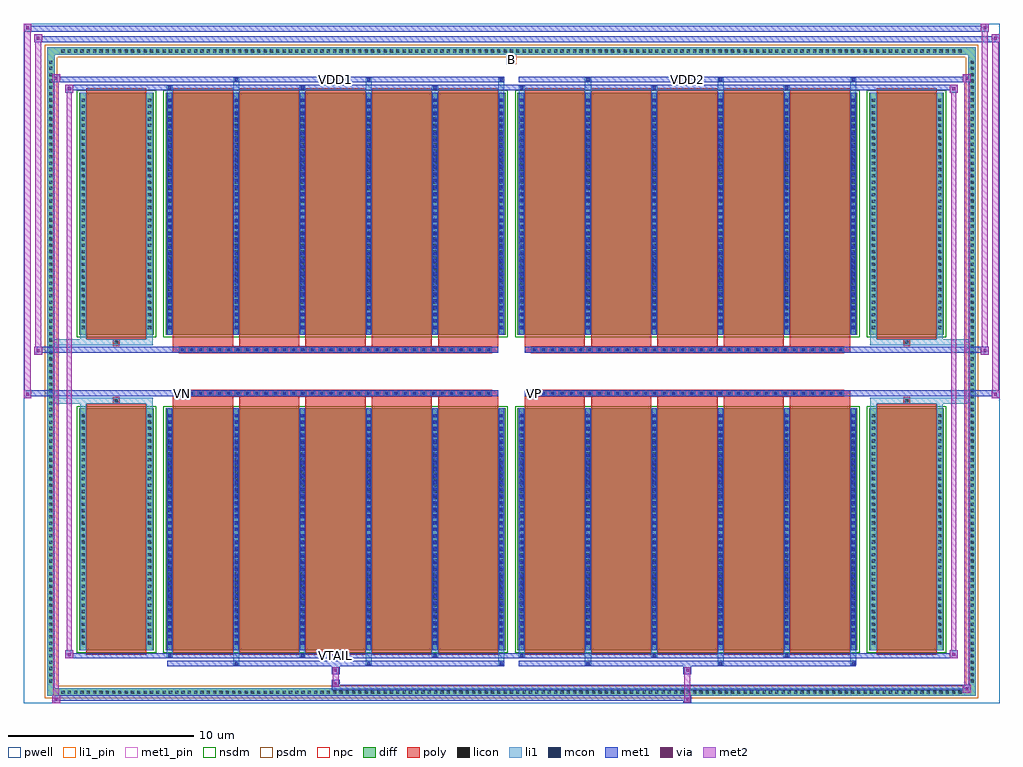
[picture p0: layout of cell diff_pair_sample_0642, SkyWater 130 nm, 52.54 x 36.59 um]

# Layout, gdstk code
import gdstk
lib = gdstk.Library(unit=1e-6, precision=5e-09)
def R(c, l, rs):  # rectangles x0, y0, x1, y1
    for r in rs: c.add(gdstk.rectangle(r[:2], r[2:], *l))
def A(c, l, x, y, w, h, nx, ny, dx, dy):  # array of equal rectangles
    R(c, l, [(x+i*dx, y+j*dy, x+i*dx+w, y+j*dy+h) for i in range(nx) for j in range(ny)])
def P(c, l, *ps):  # polygons
    for p in ps: c.add(gdstk.Polygon(p, *l))
pwell = (64, 44)
diff = (65, 20)
poly = (66, 20)
licon = (66, 44)
li1_pin = (67, 16)
li1 = (67, 20)
mcon = (67, 44)
met1_pin = (68, 16)
met1 = (68, 20)
via = (68, 44)
met2 = (69, 20)
nsdm = (93, 44)
psdm = (94, 20)
npc = (95, 20)

diff_pair_sample_0642 = lib.new_cell('diff_pair_sample_0642')
R(diff_pair_sample_0642, pwell, [(-26.27,-17.86,26.27,18.73), (-23.59,-16.05,-0.01,-0.805), (0.01,-16.05,23.59,-0.805), (-23.59,0.805,-0.01,16.05), (0.01,0.805,23.59,16.05)])
A(diff_pair_sample_0642, diff, -24.345, -17.46, 0.41, 0.41, 143, 2, 0.34, 34.51)
A(diff_pair_sample_0642, diff, -25, -16.865, 0.41, 0.41, 1, 99, 0, 0.34)
A(diff_pair_sample_0642, diff, 24.59, -16.865, 0.41, 0.41, 1, 99, 0, 0.34)
R(diff_pair_sample_0642, diff, [(-24.345,-17.46,24.345,-17.05), (-25,-16.865,-24.59,16.865), (24.59,-16.865,25,16.865), (-23.28,-15.005,-19.26,-1.985), (-18.62,-15.005,-0.32,-1.985), (0.32,-15.005,18.62,-1.985), (19.26,-15.005,23.28,-1.985), (-23.28,1.985,-19.26,15.005), (-18.62,1.985,-0.32,15.005), (0.32,1.985,18.62,15.005), (19.26,1.985,23.28,15.005), (-24.345,17.05,24.345,17.46)])
P(diff_pair_sample_0642, diff, [(25,17.46),(-25,17.46),(-25,-17.05),(-24.59,-17.05),(-24.59,17.05),(24.59,17.05),(24.59,-17.05),(-24.59,-17.05),(-25,-17.05),(-25,-17.46),(25,-17.46)])
A(diff_pair_sample_0642, poly, -18.23, -15.255, 3.24, 13.52, 5, 2, 3.57, 16.99)
A(diff_pair_sample_0642, poly, 0.71, -15.255, 3.24, 13.52, 5, 2, 3.57, 16.99)
A(diff_pair_sample_0642, poly, -18.23, -1.735, 3.24, 0.4, 5, 2, 3.57, 3.07)
A(diff_pair_sample_0642, poly, 0.71, -1.735, 3.24, 0.4, 5, 2, 3.57, 3.07)
A(diff_pair_sample_0642, poly, -17.885, -1.335, 0.33, 0.33, 34, 2, 0.5, 2.34)
A(diff_pair_sample_0642, poly, 1.055, -1.335, 0.33, 0.33, 34, 2, 0.5, 2.34)
R(diff_pair_sample_0642, poly, [(-22.89,-15.255,-19.65,-1.735), (19.65,-15.255,22.89,-1.735), (-21.435,-1.735,-21.105,-1.405), (-21.435,-1.735,-21.105,-1.405), (21.105,-1.735,21.435,-1.405), (21.105,-1.735,21.435,-1.405), (-18.23,-1.335,-0.71,-1.005), (0.71,-1.335,18.23,-1.005), (-18.23,1.005,-0.71,1.335), (0.71,1.005,18.23,1.335), (-21.435,1.405,-21.105,1.735), (-21.435,1.405,-21.105,1.735), (21.105,1.405,21.435,1.735), (21.105,1.405,21.435,1.735), (-22.89,1.735,-19.65,15.255), (19.65,1.735,22.89,15.255)])
A(diff_pair_sample_0642, licon, -24.225, -17.34, 0.17, 0.17, 143, 2, 0.34, 34.51)
A(diff_pair_sample_0642, licon, -24.88, -16.745, 0.17, 0.17, 1, 99, 0, 0.34)
A(diff_pair_sample_0642, licon, 24.71, -16.745, 0.17, 0.17, 1, 99, 0, 0.34)
A(diff_pair_sample_0642, licon, -23.14, -14.7, 0.17, 0.17, 1, 37, 0, 0.34)
A(diff_pair_sample_0642, licon, -19.57, -14.7, 0.17, 0.17, 1, 37, 0, 0.34)
A(diff_pair_sample_0642, licon, -18.48, -14.7, 0.17, 0.17, 6, 37, 3.57, 0.34)
A(diff_pair_sample_0642, licon, 0.46, -14.7, 0.17, 0.17, 6, 37, 3.57, 0.34)
A(diff_pair_sample_0642, licon, 19.4, -14.7, 0.17, 0.17, 1, 37, 0, 0.34)
A(diff_pair_sample_0642, licon, 22.97, -14.7, 0.17, 0.17, 1, 37, 0, 0.34)
A(diff_pair_sample_0642, licon, -17.805, -1.255, 0.17, 0.17, 34, 2, 0.5, 2.34)
A(diff_pair_sample_0642, licon, 1.135, -1.255, 0.17, 0.17, 34, 2, 0.5, 2.34)
A(diff_pair_sample_0642, licon, -23.14, 2.29, 0.17, 0.17, 1, 37, 0, 0.34)
A(diff_pair_sample_0642, licon, -19.57, 2.29, 0.17, 0.17, 1, 37, 0, 0.34)
A(diff_pair_sample_0642, licon, -18.48, 2.29, 0.17, 0.17, 6, 37, 3.57, 0.34)
A(diff_pair_sample_0642, licon, 0.46, 2.29, 0.17, 0.17, 6, 37, 3.57, 0.34)
A(diff_pair_sample_0642, licon, 19.4, 2.29, 0.17, 0.17, 1, 37, 0, 0.34)
A(diff_pair_sample_0642, licon, 22.97, 2.29, 0.17, 0.17, 1, 37, 0, 0.34)
R(diff_pair_sample_0642, licon, [(-21.355,-1.655,-21.185,-1.485), (21.185,-1.655,21.355,-1.485), (-21.355,1.485,-21.185,1.655), (21.185,1.485,21.355,1.655)])
R(diff_pair_sample_0642, li1_pin, [(-0.25,16.55,0.25,17.05)])
A(diff_pair_sample_0642, li1, -24.305, -17.42, 0.33, 0.33, 143, 2, 0.34, 34.51)
A(diff_pair_sample_0642, li1, -24.96, -16.825, 0.33, 0.33, 1, 99, 0, 0.34)
A(diff_pair_sample_0642, li1, 24.63, -16.825, 0.33, 0.33, 1, 99, 0, 0.34)
A(diff_pair_sample_0642, li1, -14.99, -15.81, 0.33, 0.805, 3, 2, 7.14, 30.815)
A(diff_pair_sample_0642, li1, -14.91, -15.81, 0.17, 0.17, 3, 2, 7.14, 31.45)
A(diff_pair_sample_0642, li1, 3.95, -15.81, 0.33, 0.805, 3, 2, 7.14, 30.815)
A(diff_pair_sample_0642, li1, 4.03, -15.81, 0.17, 0.17, 3, 2, 7.14, 31.45)
A(diff_pair_sample_0642, li1, -18.56, -15.38, 0.33, 0.375, 3, 2, 7.14, 30.385)
A(diff_pair_sample_0642, li1, -18.48, -15.38, 0.17, 0.17, 3, 2, 7.14, 30.59)
A(diff_pair_sample_0642, li1, 0.38, -15.38, 0.33, 0.375, 3, 2, 7.14, 30.385)
A(diff_pair_sample_0642, li1, 0.46, -15.38, 0.17, 0.17, 3, 2, 7.14, 30.59)
A(diff_pair_sample_0642, li1, -18.56, -15.005, 0.33, 13.02, 6, 2, 3.57, 16.99)
A(diff_pair_sample_0642, li1, 0.38, -15.005, 0.33, 13.02, 6, 2, 3.57, 16.99)
A(diff_pair_sample_0642, li1, -23.22, -14.78, 0.33, 0.33, 1, 37, 0, 0.34)
A(diff_pair_sample_0642, li1, -19.65, -14.78, 0.33, 0.33, 1, 37, 0, 0.34)
A(diff_pair_sample_0642, li1, -18.56, -14.78, 0.33, 0.33, 6, 37, 3.57, 0.34)
A(diff_pair_sample_0642, li1, 0.38, -14.78, 0.33, 0.33, 6, 37, 3.57, 0.34)
A(diff_pair_sample_0642, li1, 19.32, -14.78, 0.33, 0.33, 1, 37, 0, 0.34)
A(diff_pair_sample_0642, li1, 22.89, -14.78, 0.33, 0.33, 1, 37, 0, 0.34)
A(diff_pair_sample_0642, li1, -18.48, -14.7, 0.17, 0.17, 6, 35, 3.57, 0.36)
A(diff_pair_sample_0642, li1, -18.48, -14.7, 0.17, 12.41, 6, 2, 3.57, 16.99)
A(diff_pair_sample_0642, li1, 0.46, -14.7, 0.17, 0.17, 6, 35, 3.57, 0.36)
A(diff_pair_sample_0642, li1, 0.46, -14.7, 0.17, 12.41, 6, 2, 3.57, 16.99)
A(diff_pair_sample_0642, li1, -17.885, -1.335, 0.33, 0.33, 34, 2, 0.5, 2.34)
A(diff_pair_sample_0642, li1, 1.055, -1.335, 0.33, 0.33, 34, 2, 0.5, 2.34)
A(diff_pair_sample_0642, li1, -23.22, 2.21, 0.33, 0.33, 1, 37, 0, 0.34)
A(diff_pair_sample_0642, li1, -19.65, 2.21, 0.33, 0.33, 1, 37, 0, 0.34)
A(diff_pair_sample_0642, li1, -18.56, 2.21, 0.33, 0.33, 6, 37, 3.57, 0.34)
A(diff_pair_sample_0642, li1, 0.38, 2.21, 0.33, 0.33, 6, 37, 3.57, 0.34)
A(diff_pair_sample_0642, li1, 19.32, 2.21, 0.33, 0.33, 1, 37, 0, 0.34)
A(diff_pair_sample_0642, li1, 22.89, 2.21, 0.33, 0.33, 1, 37, 0, 0.34)
A(diff_pair_sample_0642, li1, -18.48, 2.29, 0.17, 0.17, 6, 35, 3.57, 0.36)
A(diff_pair_sample_0642, li1, 0.46, 2.29, 0.17, 0.17, 6, 35, 3.57, 0.36)
R(diff_pair_sample_0642, li1, [(-25,-17.46,-24.59,-17.05), (-25,-17.46,-24.59,-17.05), (-24.59,-17.46,24.59,-17.05), (24.59,-17.46,25,-17.05), (24.59,-17.46,25,-17.05), (-25,-17.05,-24.59,17.05), (24.59,-17.05,25,17.05), (-23.22,-15.005,-22.89,-1.985), (-19.65,-15.005,-19.32,-1.985), (19.32,-15.005,19.65,-1.985), (22.89,-15.005,23.22,-1.985), (-23.22,-1.985,-22.89,-1.405), (-19.65,-1.985,-19.32,-1.405), (19.32,-1.985,19.65,-1.405), (22.89,-1.985,23.22,-1.405), (-25,-1.735,-21.435,-1.405), (-23.22,-1.735,-21.435,-1.405), (-21.435,-1.735,-21.105,-1.405), (-21.105,-1.735,-19.32,-1.405), (19.32,-1.735,21.105,-1.405), (21.105,-1.735,21.435,-1.405), (21.105,-1.735,25,-1.405), (21.435,-1.735,23.22,-1.405), (-25,1.405,-21.435,1.735), (-23.22,1.405,-21.435,1.735), (-23.22,1.405,-22.89,1.985), (-21.435,1.405,-21.105,1.735), (-21.105,1.405,-19.32,1.735), (-19.65,1.405,-19.32,1.985), (19.32,1.405,21.105,1.735), (19.32,1.405,19.65,1.985), (21.105,1.405,21.435,1.735), (21.105,1.405,25,1.735), (21.435,1.405,23.22,1.735), (22.89,1.405,23.22,1.985), (-23.22,1.985,-22.89,15.005), (-19.65,1.985,-19.32,15.005), (19.32,1.985,19.65,15.005), (22.89,1.985,23.22,15.005), (-25,17.05,-24.59,17.46), (-25,17.05,-24.59,17.46), (-24.59,17.05,24.59,17.46), (24.59,17.05,25,17.46), (24.59,17.05,25,17.46)])
A(diff_pair_sample_0642, mcon, -14.91, -15.81, 0.17, 0.17, 3, 2, 7.14, 31.45)
A(diff_pair_sample_0642, mcon, 4.03, -15.81, 0.17, 0.17, 3, 2, 7.14, 31.45)
A(diff_pair_sample_0642, mcon, -18.48, -15.38, 0.17, 0.17, 3, 2, 7.14, 30.59)
A(diff_pair_sample_0642, mcon, 0.46, -15.38, 0.17, 0.17, 3, 2, 7.14, 30.59)
A(diff_pair_sample_0642, mcon, -18.48, -14.7, 0.17, 0.17, 6, 35, 3.57, 0.36)
A(diff_pair_sample_0642, mcon, 0.46, -14.7, 0.17, 0.17, 6, 35, 3.57, 0.36)
A(diff_pair_sample_0642, mcon, -17.805, -1.255, 0.17, 0.17, 34, 2, 0.5, 2.34)
A(diff_pair_sample_0642, mcon, 1.135, -1.255, 0.17, 0.17, 34, 2, 0.5, 2.34)
A(diff_pair_sample_0642, mcon, -18.48, 2.29, 0.17, 0.17, 6, 35, 3.57, 0.36)
A(diff_pair_sample_0642, mcon, 0.46, 2.29, 0.17, 0.17, 6, 35, 3.57, 0.36)
R(diff_pair_sample_0642, met1_pin, [(-9.605,-15.42,-9.335,-15.15), (-17.855,-1.295,-17.585,-1.025), (1.085,-1.295,1.355,-1.025), (-9.605,15.6,-9.335,15.87), (9.335,15.6,9.605,15.87)])
A(diff_pair_sample_0642, met1, -14.97, -15.87, 0.29, 0.29, 3, 2, 7.14, 31.45)
A(diff_pair_sample_0642, met1, 3.97, -15.87, 0.29, 0.29, 3, 2, 7.14, 31.45)
A(diff_pair_sample_0642, met1, -18.54, -15.44, 0.29, 0.29, 3, 2, 7.14, 30.59)
A(diff_pair_sample_0642, met1, 0.4, -15.44, 0.29, 0.29, 3, 2, 7.14, 30.59)
A(diff_pair_sample_0642, met1, -18.54, -15.005, 0.29, 13.02, 6, 2, 3.57, 16.99)
A(diff_pair_sample_0642, met1, 0.4, -15.005, 0.29, 13.02, 6, 2, 3.57, 16.99)
A(diff_pair_sample_0642, met1, -18.54, -14.76, 0.29, 0.29, 6, 35, 3.57, 0.36)
A(diff_pair_sample_0642, met1, 0.4, -14.76, 0.29, 0.29, 6, 35, 3.57, 0.36)
A(diff_pair_sample_0642, met1, -17.865, -1.315, 0.29, 0.29, 34, 2, 0.5, 2.34)
A(diff_pair_sample_0642, met1, 1.075, -1.315, 0.29, 0.29, 34, 2, 0.5, 2.34)
A(diff_pair_sample_0642, met1, -18.54, 2.23, 0.29, 0.29, 6, 35, 3.57, 0.36)
A(diff_pair_sample_0642, met1, 0.4, 2.23, 0.29, 0.29, 6, 35, 3.57, 0.36)
R(diff_pair_sample_0642, met1, [(-24.73,-17.86,-24.3,-17.43), (9.255,-17.86,9.685,-17.43), (-24.73,-17.72,9.685,-17.43), (24.3,-17.29,24.73,-16.86), (-9.685,-17.15,24.73,-16.86), (-9.685,-17.01,-9.255,-16.58), (-9.685,-16.3,-9.255,-15.87), (9.255,-16.3,9.685,-15.87), (-18.54,-15.87,-0.4,-15.58), (0.4,-15.87,18.54,-15.58), (-24.02,-15.44,-23.59,-15.01), (-24.02,-15.44,-18.54,-15.15), (-18.54,-15.44,-0.4,-15.15), (-0.4,-15.44,0.4,-15.15), (0.4,-15.44,18.54,-15.15), (18.54,-15.44,24.02,-15.15), (23.59,-15.44,24.02,-15.01), (-26.27,-1.435,-25.84,-1.005), (25.84,-1.435,26.27,-1.005), (-26.27,-1.335,-0.71,-1.005), (-18.23,-1.335,-0.71,-1.005), (0.71,-1.335,18.23,-1.005), (0.71,-1.335,26.27,-1.005), (-25.7,0.905,-25.27,1.335), (25.27,0.905,25.7,1.335), (-25.7,1.005,-18.23,1.335), (-18.23,1.005,-0.71,1.335), (0.71,1.005,18.23,1.335), (18.23,1.005,25.7,1.335), (-24.02,15.01,-23.59,15.44), (23.59,15.01,24.02,15.44), (-24.02,15.15,-18.54,15.44), (-18.54,15.15,-0.4,15.44), (-0.4,15.15,0.4,15.44), (0.4,15.15,18.54,15.44), (18.54,15.15,24.02,15.44), (-24.73,15.58,-24.3,16.01), (-24.73,15.58,-18.54,15.87), (-18.54,15.58,-0.4,15.87), (0.4,15.58,18.54,15.87), (18.54,15.58,24.73,15.87), (24.3,15.58,24.73,16.01), (-25.7,17.73,-25.27,18.16), (-25.7,17.73,-23.59,18.06), (-23.59,17.73,23.59,18.06), (23.59,17.73,26.27,18.06), (25.84,17.73,26.27,18.16), (-26.27,18.3,-25.84,18.73), (-26.27,18.3,-23.59,18.63), (-23.59,18.3,23.59,18.63), (23.59,18.3,25.7,18.63), (25.27,18.3,25.7,18.73)])
R(diff_pair_sample_0642, via, [(-24.59,-17.72,-24.44,-17.57), (9.395,-17.72,9.545,-17.57), (24.44,-17.15,24.59,-17), (-9.545,-16.87,-9.395,-16.72), (-9.545,-16.16,-9.395,-16.01), (9.395,-16.16,9.545,-16.01), (-23.88,-15.3,-23.73,-15.15), (23.73,-15.3,23.88,-15.15), (-26.13,-1.295,-25.98,-1.145), (25.98,-1.295,26.13,-1.145), (-25.56,1.045,-25.41,1.195), (25.41,1.045,25.56,1.195), (-23.88,15.15,-23.73,15.3), (23.73,15.15,23.88,15.3), (-24.59,15.72,-24.44,15.87), (24.44,15.72,24.59,15.87), (-25.56,17.87,-25.41,18.02), (25.98,17.87,26.13,18.02), (-26.13,18.44,-25.98,18.59), (25.41,18.44,25.56,18.59)])
R(diff_pair_sample_0642, met2, [(-24.73,-17.86,-24.3,-17.43), (-24.66,-17.86,-24.37,16.01), (-24.37,-17.86,-24.3,-17.43), (-24.68,-17.81,-24.35,-17.48), (9.305,-17.81,9.635,-17.48), (9.305,-17.48,9.635,-16.25), (24.3,-17.29,24.73,-16.86), (24.37,-17.29,24.66,16.01), (24.66,-17.29,24.73,-16.86), (24.35,-17.24,24.68,-16.91), (-9.635,-16.96,-9.305,-16.63), (-9.635,-16.63,-9.305,-16.25), (-9.635,-16.25,-9.305,-15.92), (9.305,-16.25,9.635,-15.92), (-24.02,-15.44,-23.59,-15.01), (-23.95,-15.44,-23.66,15.44), (-23.66,-15.44,-23.59,-15.01), (23.59,-15.44,24.02,-15.01), (23.66,-15.44,23.95,15.44), (23.95,-15.44,24.02,-15.01), (-23.97,-15.39,-23.64,-15.06), (23.64,-15.39,23.97,-15.06), (-26.27,-1.435,-25.84,-1.005), (-26.22,-1.435,-25.89,18.73), (-25.89,-1.435,-25.84,-1.005), (25.84,-1.435,26.27,-1.005), (25.89,-1.435,26.22,18.16), (26.22,-1.435,26.27,-1.005), (-26.22,-1.385,-25.89,-1.055), (25.89,-1.385,26.22,-1.055), (-25.7,0.905,-25.27,1.335), (-25.65,0.905,-25.32,18.16), (-25.32,0.905,-25.27,1.335), (25.27,0.905,25.7,1.335), (25.32,0.905,25.65,18.73), (25.65,0.905,25.7,1.335), (-25.65,0.955,-25.32,1.285), (25.32,0.955,25.65,1.285), (-24.02,15.01,-23.59,15.44), (-23.66,15.01,-23.59,15.44), (23.59,15.01,24.02,15.44), (23.95,15.01,24.02,15.44), (-23.97,15.06,-23.64,15.39), (23.64,15.06,23.97,15.39), (-24.73,15.58,-24.3,16.01), (-24.37,15.58,-24.3,16.01), (24.3,15.58,24.73,16.01), (24.66,15.58,24.73,16.01), (-24.68,15.63,-24.35,15.96), (24.35,15.63,24.68,15.96), (-25.7,17.73,-25.27,18.16), (-25.32,17.73,-25.27,18.16), (25.84,17.73,26.27,18.16), (26.22,17.73,26.27,18.16), (-25.65,17.78,-25.32,18.11), (25.89,17.78,26.22,18.11), (-26.27,18.3,-25.84,18.73), (-25.89,18.3,-25.84,18.73), (25.27,18.3,25.7,18.73), (25.65,18.3,25.7,18.73), (-26.22,18.35,-25.89,18.68), (25.32,18.35,25.65,18.68)])
R(diff_pair_sample_0642, nsdm, [(-23.41,-15.135,-19.13,-1.855), (-18.75,-15.135,-0.19,-1.855), (0.19,-15.135,18.75,-1.855), (19.13,-15.135,23.41,-1.855), (-23.41,1.855,-19.13,15.135), (-18.75,1.855,-0.19,15.135), (0.19,1.855,18.75,15.135), (19.13,1.855,23.41,15.135)])
P(diff_pair_sample_0642, psdm, [(25.13,17.59),(-25.13,17.59),(-25.13,-16.92),(-24.46,-16.92),(-24.46,16.92),(24.46,16.92),(24.46,-16.92),(-24.46,-16.92),(-25.13,-16.92),(-25.13,-17.59),(25.13,-17.59)])
A(diff_pair_sample_0642, npc, -17.905, -1.355, 0.37, 0.37, 34, 2, 0.5, 2.34)
A(diff_pair_sample_0642, npc, 1.035, -1.355, 0.37, 0.37, 34, 2, 0.5, 2.34)
R(diff_pair_sample_0642, npc, [(-21.455,-1.755,-21.085,-1.385), (21.085,-1.755,21.455,-1.385), (-17.905,-1.355,-17.035,-0.985), (-17.905,-1.355,-17.035,-0.985), (-17.405,-1.355,-16.535,-0.985), (-17.405,-1.355,-16.535,-0.985), (-16.905,-1.355,-16.035,-0.985), (-16.905,-1.355,-16.035,-0.985), (-16.405,-1.355,-15.535,-0.985), (-16.405,-1.355,-15.535,-0.985), (-15.905,-1.355,-15.035,-0.985), (-15.905,-1.355,-15.035,-0.985), (-15.405,-1.355,-14.535,-0.985), (-15.405,-1.355,-14.535,-0.985), (-14.905,-1.355,-14.035,-0.985), (-14.905,-1.355,-14.035,-0.985), (-14.405,-1.355,-13.535,-0.985), (-14.405,-1.355,-13.535,-0.985), (-13.905,-1.355,-13.035,-0.985), (-13.905,-1.355,-13.035,-0.985), (-13.405,-1.355,-12.535,-0.985), (-13.405,-1.355,-12.535,-0.985), (-12.905,-1.355,-12.035,-0.985), (-12.905,-1.355,-12.035,-0.985), (-12.405,-1.355,-11.535,-0.985), (-12.405,-1.355,-11.535,-0.985), (-11.905,-1.355,-11.035,-0.985), (-11.905,-1.355,-11.035,-0.985), (-11.405,-1.355,-10.535,-0.985), (-11.405,-1.355,-10.535,-0.985), (-10.905,-1.355,-10.035,-0.985), (-10.905,-1.355,-10.035,-0.985), (-10.405,-1.355,-9.535,-0.985), (-10.405,-1.355,-9.535,-0.985), (-9.905,-1.355,-9.035,-0.985), (-9.905,-1.355,-9.035,-0.985), (-9.405,-1.355,-8.535,-0.985), (-9.405,-1.355,-8.535,-0.985), (-8.905,-1.355,-8.035,-0.985), (-8.905,-1.355,-8.035,-0.985), (-8.405,-1.355,-7.535,-0.985), (-8.405,-1.355,-7.535,-0.985), (-7.905,-1.355,-7.035,-0.985), (-7.905,-1.355,-7.035,-0.985), (-7.405,-1.355,-6.535,-0.985), (-7.405,-1.355,-6.535,-0.985), (-6.905,-1.355,-6.035,-0.985), (-6.905,-1.355,-6.035,-0.985), (-6.405,-1.355,-5.535,-0.985), (-6.405,-1.355,-5.535,-0.985), (-5.905,-1.355,-5.035,-0.985), (-5.905,-1.355,-5.035,-0.985), (-5.405,-1.355,-4.535,-0.985), (-5.405,-1.355,-4.535,-0.985), (-4.905,-1.355,-4.035,-0.985), (-4.905,-1.355,-4.035,-0.985), (-4.405,-1.355,-3.535,-0.985), (-4.405,-1.355,-3.535,-0.985), (-3.905,-1.355,-3.035,-0.985), (-3.905,-1.355,-3.035,-0.985), (-3.405,-1.355,-2.535,-0.985), (-3.405,-1.355,-2.535,-0.985), (-2.905,-1.355,-2.035,-0.985), (-2.905,-1.355,-2.035,-0.985), (-2.405,-1.355,-1.535,-0.985), (-2.405,-1.355,-1.535,-0.985), (-1.905,-1.355,-1.035,-0.985), (-1.905,-1.355,-1.035,-0.985), (1.035,-1.355,1.905,-0.985), (1.035,-1.355,1.905,-0.985), (1.535,-1.355,2.405,-0.985), (1.535,-1.355,2.405,-0.985), (2.035,-1.355,2.905,-0.985), (2.035,-1.355,2.905,-0.985), (2.535,-1.355,3.405,-0.985), (2.535,-1.355,3.405,-0.985), (3.035,-1.355,3.905,-0.985), (3.035,-1.355,3.905,-0.985), (3.535,-1.355,4.405,-0.985), (3.535,-1.355,4.405,-0.985), (4.035,-1.355,4.905,-0.985), (4.035,-1.355,4.905,-0.985), (4.535,-1.355,5.405,-0.985), (4.535,-1.355,5.405,-0.985), (5.035,-1.355,5.905,-0.985), (5.035,-1.355,5.905,-0.985), (5.535,-1.355,6.405,-0.985), (5.535,-1.355,6.405,-0.985), (6.035,-1.355,6.905,-0.985), (6.035,-1.355,6.905,-0.985), (6.535,-1.355,7.405,-0.985), (6.535,-1.355,7.405,-0.985), (7.035,-1.355,7.905,-0.985), (7.035,-1.355,7.905,-0.985), (7.535,-1.355,8.405,-0.985), (7.535,-1.355,8.405,-0.985), (8.035,-1.355,8.905,-0.985), (8.035,-1.355,8.905,-0.985), (8.535,-1.355,9.405,-0.985), (8.535,-1.355,9.405,-0.985), (9.035,-1.355,9.905,-0.985), (9.035,-1.355,9.905,-0.985), (9.535,-1.355,10.405,-0.985), (9.535,-1.355,10.405,-0.985), (10.035,-1.355,10.905,-0.985), (10.035,-1.355,10.905,-0.985), (10.535,-1.355,11.405,-0.985), (10.535,-1.355,11.405,-0.985), (11.035,-1.355,11.905,-0.985), (11.035,-1.355,11.905,-0.985), (11.535,-1.355,12.405,-0.985), (11.535,-1.355,12.405,-0.985), (12.035,-1.355,12.905,-0.985), (12.035,-1.355,12.905,-0.985), (12.535,-1.355,13.405,-0.985), (12.535,-1.355,13.405,-0.985), (13.035,-1.355,13.905,-0.985), (13.035,-1.355,13.905,-0.985), (13.535,-1.355,14.405,-0.985), (13.535,-1.355,14.405,-0.985), (14.035,-1.355,14.905,-0.985), (14.035,-1.355,14.905,-0.985), (14.535,-1.355,15.405,-0.985), (14.535,-1.355,15.405,-0.985), (15.035,-1.355,15.905,-0.985), (15.035,-1.355,15.905,-0.985), (15.535,-1.355,16.405,-0.985), (15.535,-1.355,16.405,-0.985), (16.035,-1.355,16.905,-0.985), (16.035,-1.355,16.905,-0.985), (16.535,-1.355,17.405,-0.985), (16.535,-1.355,17.405,-0.985), (17.035,-1.355,17.905,-0.985), (17.035,-1.355,17.905,-0.985), (-17.905,0.985,-17.035,1.355), (-17.905,0.985,-17.035,1.355), (-17.405,0.985,-16.535,1.355), (-17.405,0.985,-16.535,1.355), (-16.905,0.985,-16.035,1.355), (-16.905,0.985,-16.035,1.355), (-16.405,0.985,-15.535,1.355), (-16.405,0.985,-15.535,1.355), (-15.905,0.985,-15.035,1.355), (-15.905,0.985,-15.035,1.355), (-15.405,0.985,-14.535,1.355), (-15.405,0.985,-14.535,1.355), (-14.905,0.985,-14.035,1.355), (-14.905,0.985,-14.035,1.355), (-14.405,0.985,-13.535,1.355), (-14.405,0.985,-13.535,1.355), (-13.905,0.985,-13.035,1.355), (-13.905,0.985,-13.035,1.355), (-13.405,0.985,-12.535,1.355), (-13.405,0.985,-12.535,1.355), (-12.905,0.985,-12.035,1.355), (-12.905,0.985,-12.035,1.355), (-12.405,0.985,-11.535,1.355), (-12.405,0.985,-11.535,1.355), (-11.905,0.985,-11.035,1.355), (-11.905,0.985,-11.035,1.355), (-11.405,0.985,-10.535,1.355), (-11.405,0.985,-10.535,1.355), (-10.905,0.985,-10.035,1.355), (-10.905,0.985,-10.035,1.355), (-10.405,0.985,-9.535,1.355), (-10.405,0.985,-9.535,1.355), (-9.905,0.985,-9.035,1.355), (-9.905,0.985,-9.035,1.355), (-9.405,0.985,-8.535,1.355), (-9.405,0.985,-8.535,1.355), (-8.905,0.985,-8.035,1.355), (-8.905,0.985,-8.035,1.355), (-8.405,0.985,-7.535,1.355), (-8.405,0.985,-7.535,1.355), (-7.905,0.985,-7.035,1.355), (-7.905,0.985,-7.035,1.355), (-7.405,0.985,-6.535,1.355), (-7.405,0.985,-6.535,1.355), (-6.905,0.985,-6.035,1.355), (-6.905,0.985,-6.035,1.355), (-6.405,0.985,-5.535,1.355), (-6.405,0.985,-5.535,1.355), (-5.905,0.985,-5.035,1.355), (-5.905,0.985,-5.035,1.355), (-5.405,0.985,-4.535,1.355), (-5.405,0.985,-4.535,1.355), (-4.905,0.985,-4.035,1.355), (-4.905,0.985,-4.035,1.355), (-4.405,0.985,-3.535,1.355), (-4.405,0.985,-3.535,1.355), (-3.905,0.985,-3.035,1.355), (-3.905,0.985,-3.035,1.355), (-3.405,0.985,-2.535,1.355), (-3.405,0.985,-2.535,1.355), (-2.905,0.985,-2.035,1.355), (-2.905,0.985,-2.035,1.355), (-2.405,0.985,-1.535,1.355), (-2.405,0.985,-1.535,1.355), (-1.905,0.985,-1.035,1.355), (-1.905,0.985,-1.035,1.355), (1.035,0.985,1.905,1.355), (1.035,0.985,1.905,1.355), (1.535,0.985,2.405,1.355), (1.535,0.985,2.405,1.355), (2.035,0.985,2.905,1.355), (2.035,0.985,2.905,1.355), (2.535,0.985,3.405,1.355), (2.535,0.985,3.405,1.355), (3.035,0.985,3.905,1.355), (3.035,0.985,3.905,1.355), (3.535,0.985,4.405,1.355), (3.535,0.985,4.405,1.355), (4.035,0.985,4.905,1.355), (4.035,0.985,4.905,1.355), (4.535,0.985,5.405,1.355), (4.535,0.985,5.405,1.355), (5.035,0.985,5.905,1.355), (5.035,0.985,5.905,1.355), (5.535,0.985,6.405,1.355), (5.535,0.985,6.405,1.355), (6.035,0.985,6.905,1.355), (6.035,0.985,6.905,1.355), (6.535,0.985,7.405,1.355), (6.535,0.985,7.405,1.355), (7.035,0.985,7.905,1.355), (7.035,0.985,7.905,1.355), (7.535,0.985,8.405,1.355), (7.535,0.985,8.405,1.355), (8.035,0.985,8.905,1.355), (8.035,0.985,8.905,1.355), (8.535,0.985,9.405,1.355), (8.535,0.985,9.405,1.355), (9.035,0.985,9.905,1.355), (9.035,0.985,9.905,1.355), (9.535,0.985,10.405,1.355), (9.535,0.985,10.405,1.355), (10.035,0.985,10.905,1.355), (10.035,0.985,10.905,1.355), (10.535,0.985,11.405,1.355), (10.535,0.985,11.405,1.355), (11.035,0.985,11.905,1.355), (11.035,0.985,11.905,1.355), (11.535,0.985,12.405,1.355), (11.535,0.985,12.405,1.355), (12.035,0.985,12.905,1.355), (12.035,0.985,12.905,1.355), (12.535,0.985,13.405,1.355), (12.535,0.985,13.405,1.355), (13.035,0.985,13.905,1.355), (13.035,0.985,13.905,1.355), (13.535,0.985,14.405,1.355), (13.535,0.985,14.405,1.355), (14.035,0.985,14.905,1.355), (14.035,0.985,14.905,1.355), (14.535,0.985,15.405,1.355), (14.535,0.985,15.405,1.355), (15.035,0.985,15.905,1.355), (15.035,0.985,15.905,1.355), (15.535,0.985,16.405,1.355), (15.535,0.985,16.405,1.355), (16.035,0.985,16.905,1.355), (16.035,0.985,16.905,1.355), (16.535,0.985,17.405,1.355), (16.535,0.985,17.405,1.355), (17.035,0.985,17.905,1.355), (17.035,0.985,17.905,1.355), (-21.455,1.385,-21.085,1.755), (21.085,1.385,21.455,1.755)])
diff_pair_sample_0642.add(gdstk.Label('VTAIL', (-9.47,-15.285), layer=68, texttype=5))
diff_pair_sample_0642.add(gdstk.Label('VN', (-17.72,-1.16), layer=68, texttype=5))
diff_pair_sample_0642.add(gdstk.Label('VP', (1.22,-1.16), layer=68, texttype=5))
diff_pair_sample_0642.add(gdstk.Label('B', (0,16.8), layer=67, texttype=5))
diff_pair_sample_0642.add(gdstk.Label('VDD2', (9.47,15.735), layer=68, texttype=5))
diff_pair_sample_0642.add(gdstk.Label('VDD1', (-9.47,15.735), layer=68, texttype=5))

lib.write_gds('diff_pair_sample_0642.gds')
